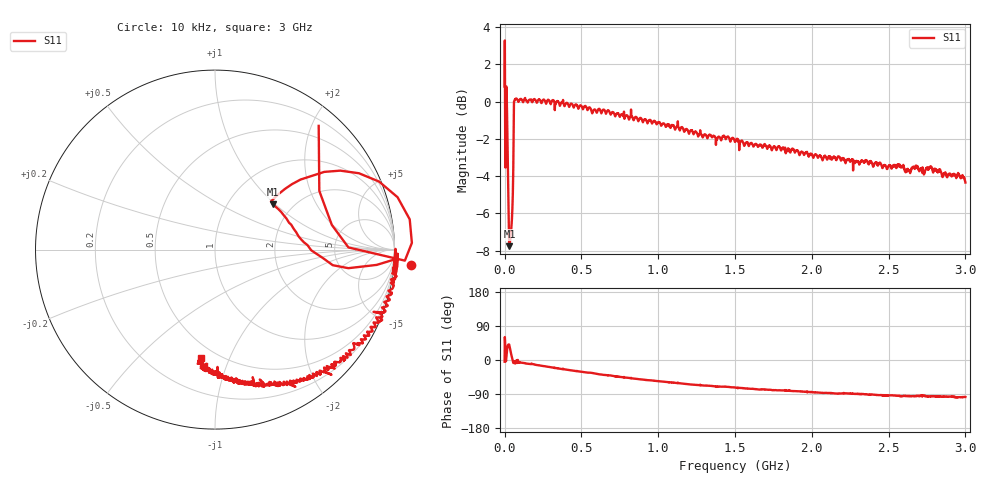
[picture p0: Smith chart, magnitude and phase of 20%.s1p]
# HZ S RI R 50
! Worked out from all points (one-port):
!   2020 points, 10 kHz to 3 GHz, reference 50 ohm
!   lowest |S11| = -7.8 dB at 31.21 MHz (marker M1), VSWR 2.39, Z = 79.5 + j48.3 ohm
!   |S11| at or under -10 dB: nowhere
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10000  1.094 -0.0857
5953516  0.6509 0.1375
1.635467e7  0.8018 0.4254
1.932643e7  0.6088 0.4329
2.378406e7  0.4288 0.3645
2.675582e7  0.3597 0.3138
3.121346e7  0.322 0.2531
3.715698e7  0.3843 0.1897
4.310049e7  0.4382 0.1162
5.350164e7  0.5649 -0.0229
6.39028e7  1.004 -0.0752
7.133219e7  1.015 -0.0542
7.578983e7  1.017 -0.0228
1.887166e8  0.9928 -0.1959
3.759374e8  0.9116 -0.4058
6.107063e8  0.7559 -0.5826
7.503789e8  0.6491 -0.6381
9.33142e8  0.5273 -0.7053
1.126306e9  0.4159 -0.7516
1.289753e9  0.3116 -0.7386
1.500748e9  0.2351 -0.7433
1.653793e9  0.1615 -0.7419
1.875189e9  0.1043 -0.7396
2.160478e9  0.0173 -0.6966
2.251117e9  0.0194 -0.6914
2.625558e9  -0.0574 -0.6553
2.769688e9  -0.0645 -0.6622
3e9  -0.0787 -0.6016
